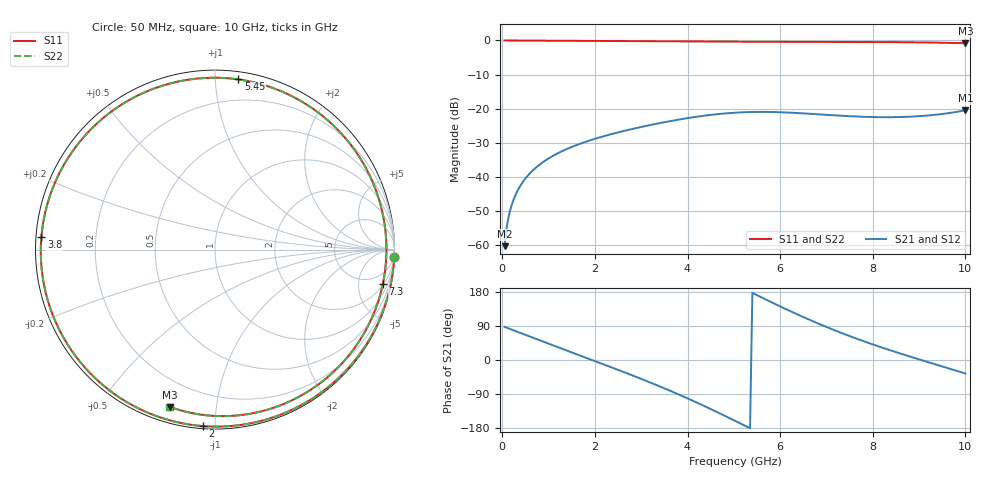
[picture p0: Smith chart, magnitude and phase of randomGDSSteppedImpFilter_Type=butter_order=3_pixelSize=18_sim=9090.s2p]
! freq	dB(S11)	phase(S11)	dB(S12)	phase(S12)
!  dB(S21)	phase(S21)	dB(S22)	phase(S22)
!S-par simulation data
#  GHz  S  DB  R 50
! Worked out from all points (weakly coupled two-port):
!   200 points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, 50 MHz to 10 GHz, reference 50 ohm
!   highest |S21| = -20.50 dB at 10 GHz (marker M1); lowest = -60.4 dB at 50 MHz (marker M2)
!   lowest |S11| = -0.8 dB at 10 GHz (marker M3), VSWR 21.54, Z = 3.64 - j37.6 ohm
!   |S11| at or under -10 dB: nowhere
!   |S22| runs from -0.8 to 0.0 dB; largest |S21 - S12| = 0
!   S11 on the Smith chart (normalised r, x): 50 MHz: 0, -48; 2 GHz: 0.01, -0.93; 3.8 GHz: 0.02, +0.04; 5.45 GHz: 0.05, +1.14; 7.3 GHz: 2.14, -9.30; 10 GHz: 0.07, -0.75
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0.05  -0.00 -2.4  -60.37 87.4  -60.37 87.4  -0.00 -2.4
0.1  -0.01 -4.7  -54.37 85.0  -54.37 85.0  -0.01 -4.7
0.2  -0.01 -9.5  -48.39 80.3  -48.39 80.3  -0.01 -9.5
0.35  -0.02 -16.5  -43.56 73.3  -43.56 73.3  -0.02 -16.5
0.5  -0.03 -23.5  -40.50 66.3  -40.50 66.3  -0.03 -23.5
1.15  -0.07 -54.0  -33.44 36.0  -33.44 36.0  -0.07 -54.0
1.75  -0.11 -82.1  -29.97 8.5  -29.97 8.5  -0.11 -82.2
2  -0.13 -94.0  -28.86 -2.9  -28.86 -2.9  -0.13 -94.0
2.65  -0.17 -125.2  -26.48 -33.1  -26.48 -33.1  -0.17 -125.4
3.4  -0.23 -163.0  -24.26 -69.7  -24.26 -69.7  -0.23 -163.2
3.8  -0.27 175.8  -23.25 -90.5  -23.25 -90.5  -0.27 175.5
4.4  -0.32 142.6  -22.01 -123.7  -22.01 -123.7  -0.32 142.2
4.75  -0.34 122.6  -21.49 -144.1  -21.49 -144.1  -0.35 122.1
5.05  -0.36 105.2  -21.18 -161.9  -21.18 -161.9  -0.36 104.7
5.45  -0.38 82.2  -20.98 174.0  -20.98 174.0  -0.38 81.6
6.1  -0.39 46.1  -21.11 135.7  -21.11 135.7  -0.39 45.5
6.7  -0.39 15.6  -21.56 102.6  -21.56 102.6  -0.39 15.0
7.3  -0.40 -11.7  -22.08 72.5  -22.08 72.5  -0.41 -12.2
7.85  -0.43 -33.9  -22.43 47.5  -22.43 47.5  -0.43 -34.4
8.35  -0.48 -52.2  -22.52 26.7  -22.52 26.7  -0.48 -52.6
9.15  -0.59 -78.8  -22.07 -3.9  -22.07 -3.9  -0.59 -79.1
10  -0.81 -105.9  -20.50 -35.7  -20.50 -35.7  -0.81 -106.2
